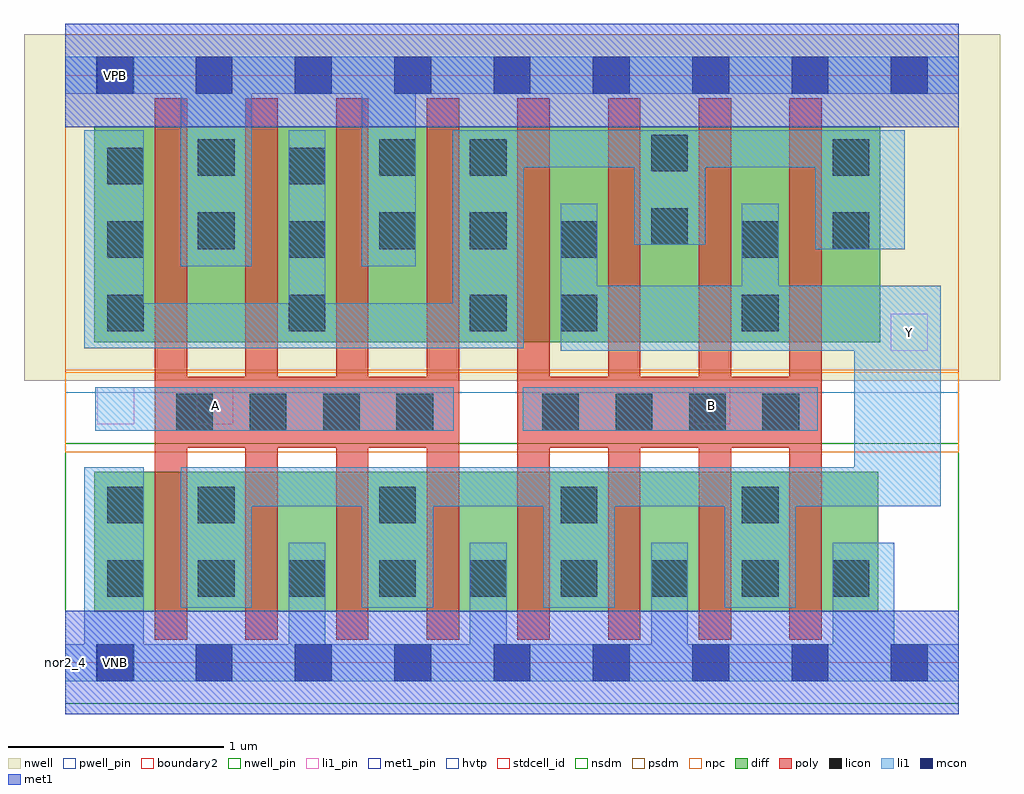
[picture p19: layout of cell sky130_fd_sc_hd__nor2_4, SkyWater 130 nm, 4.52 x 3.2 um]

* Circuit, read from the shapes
.subckt sky130_fd_sc_hd__nor2_4 A B VGND VNB VPB VPWR Y
XM1 Y A VGND VNB sky130_fd_pr__nfet_01v8 w=0.65 l=0.15 m=4
XM2 Y B VGND VNB sky130_fd_pr__nfet_01v8 w=0.65 l=0.15 m=4
XM3 VPWR A n1 VPB sky130_fd_pr__pfet_01v8_hvt w=1 l=0.15 m=4
XM4 Y B n1 VPB sky130_fd_pr__pfet_01v8_hvt w=1 l=0.15 m=4
.ends

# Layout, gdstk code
import gdstk
lib = gdstk.Library(unit=1e-6, precision=1e-09)
def R(c, l, rs):  # rectangles x0, y0, x1, y1
    for r in rs: c.add(gdstk.rectangle(r[:2], r[2:], *l))
def A(c, l, x, y, w, h, nx, ny, dx, dy):  # array of equal rectangles
    R(c, l, [(x+i*dx, y+j*dy, x+i*dx+w, y+j*dy+h) for i in range(nx) for j in range(ny)])
def P(c, l, *ps):  # polygons
    for p in ps: c.add(gdstk.Polygon(p, *l))
nwell_pin = (64, 16)
nwell = (64, 20)
diff = (65, 20)
poly = (66, 20)
licon = (66, 44)
li1_pin = (67, 16)
li1 = (67, 20)
mcon = (67, 44)
met1_pin = (68, 16)
met1 = (68, 20)
hvtp = (78, 44)
stdcell_id = (81, 4)
nsdm = (93, 44)
psdm = (94, 20)
npc = (95, 20)
pwell_pin = (122, 16)
boundary2 = (236, 0)

sky130_fd_sc_hd__nor2_4 = lib.new_cell('sky130_fd_sc_hd__nor2_4')
R(sky130_fd_sc_hd__nor2_4, nwell_pin, [(0.15,2.635,0.32,2.805)])
R(sky130_fd_sc_hd__nor2_4, nwell, [(-0.19,1.305,4.33,2.91)])
R(sky130_fd_sc_hd__nor2_4, diff, [(0.135,0.235,3.765,0.885), (0.135,1.485,3.775,2.485)])
P(sky130_fd_sc_hd__nor2_4, poly, [(3.505,2.615),(3.355,2.615),(3.355,1.325),(3.085,1.325),(3.085,2.615),(2.935,2.615),(2.935,1.325),(2.665,1.325),(2.665,2.615),(2.515,2.615),(2.515,1.325),(2.245,1.325),(2.245,2.615),(2.095,2.615),(2.095,0.105),(2.245,0.105),(2.245,0.995),(2.515,0.995),(2.515,0.105),(2.665,0.105),(2.665,0.995),(2.935,0.995),(2.935,0.105),(3.085,0.105),(3.085,0.995),(3.355,0.995),(3.355,0.105),(3.505,0.105)],
  [(1.825,2.615),(1.675,2.615),(1.675,1.325),(1.405,1.325),(1.405,2.615),(1.255,2.615),(1.255,1.325),(0.985,1.325),(0.985,2.615),(0.835,2.615),(0.835,1.325),(0.565,1.325),(0.565,2.615),(0.415,2.615),(0.415,0.105),(0.565,0.105),(0.565,0.995),(0.835,0.995),(0.835,0.105),(0.985,0.105),(0.985,0.995),(1.255,0.995),(1.255,0.105),(1.405,0.105),(1.405,0.995),(1.675,0.995),(1.675,0.105),(1.825,0.105)])
A(sky130_fd_sc_hd__nor2_4, licon, 0.195, 0.305, 0.17, 0.17, 9, 1, 0.42, 0)
A(sky130_fd_sc_hd__nor2_4, licon, 0.615, 0.645, 0.17, 0.17, 4, 1, 0.84, 0)
A(sky130_fd_sc_hd__nor2_4, licon, 0.515, 1.075, 0.17, 0.17, 4, 1, 0.34, 0)
A(sky130_fd_sc_hd__nor2_4, licon, 2.21, 1.075, 0.17, 0.17, 4, 1, 0.34, 0)
A(sky130_fd_sc_hd__nor2_4, licon, 0.195, 1.535, 0.17, 0.17, 3, 1, 0.84, 0)
R(sky130_fd_sc_hd__nor2_4, licon, [(0.195,0.645,0.365,0.815), (2.295,1.535,2.465,1.705), (3.135,1.535,3.305,1.705), (0.195,1.875,0.365,2.045), (1.035,1.875,1.205,2.045), (2.295,1.875,2.465,2.045), (3.135,1.875,3.305,2.045), (0.615,1.915,0.785,2.085), (1.455,1.915,1.625,2.085), (1.875,1.915,2.045,2.085), (3.555,1.915,3.725,2.085), (2.715,1.935,2.885,2.105), (0.195,2.215,0.365,2.385), (1.035,2.215,1.205,2.385), (0.615,2.255,0.785,2.425), (1.455,2.255,1.625,2.425), (1.875,2.255,2.045,2.425), (3.555,2.255,3.725,2.425), (2.715,2.275,2.885,2.445)])
R(sky130_fd_sc_hd__nor2_4, li1_pin, [(0.15,1.105,0.32,1.275), (0.61,1.105,0.78,1.275), (2.91,1.105,3.08,1.275), (3.825,1.445,3.995,1.615)])
R(sky130_fd_sc_hd__nor2_4, li1, [(0.14,1.075,1.8,1.275), (2.12,1.075,3.485,1.275)])
P(sky130_fd_sc_hd__nor2_4, li1, [(4.14,0.085),(3.84,0.085),(3.84,0.555),(3.555,0.555),(3.555,0.085),(2.885,0.085),(2.885,0.555),(2.715,0.555),(2.715,0.085),(2.045,0.085),(2.045,0.555),(1.875,0.555),(1.875,0.085),(1.205,0.085),(1.205,0.555),(1.035,0.555),(1.035,0.085),(0.365,0.085),(0.365,0.905),(0.09,0.905),(0.09,0.085),(0,0.085),(0,-0.085),(4.14,-0.085)],
  [(4.14,2.805),(0,2.805),(0,2.635),(0.535,2.635),(0.535,1.835),(0.865,1.835),(0.865,2.635),(1.375,2.635),(1.375,1.835),(1.625,1.835),(1.625,2.635),(4.14,2.635)],
  [(3.89,2.465),(1.795,2.465),(1.795,1.665),(1.205,1.665),(1.205,2.465),(1.035,2.465),(1.035,1.665),(0.365,1.665),(0.365,2.465),(0.09,2.465),(0.09,1.455),(2.125,1.455),(2.125,2.295),(2.635,2.295),(2.635,1.935),(2.965,1.935),(2.965,2.295),(3.475,2.295),(3.475,1.915),(3.89,1.915)],
  [(4.055,1.745),(3.305,1.745),(3.305,2.125),(3.135,2.125),(3.135,1.745),(2.465,1.745),(2.465,2.125),(2.295,2.125),(2.295,1.445),(3.655,1.445),(3.655,0.905),(0.535,0.905),(0.535,0.255),(0.865,0.255),(0.865,0.725),(1.375,0.725),(1.375,0.255),(1.705,0.255),(1.705,0.725),(2.215,0.725),(2.215,0.255),(2.545,0.255),(2.545,0.725),(3.055,0.725),(3.055,0.255),(3.385,0.255),(3.385,0.725),(4.055,0.725)])
A(sky130_fd_sc_hd__nor2_4, mcon, 0.145, -0.085, 0.17, 0.17, 9, 2, 0.46, 2.72)
R(sky130_fd_sc_hd__nor2_4, met1_pin, [(0.15,-0.085,0.32,0.085), (0.15,2.635,0.32,2.805)])
R(sky130_fd_sc_hd__nor2_4, hvtp, [(0,1.25,4.14,2.72)])
R(sky130_fd_sc_hd__nor2_4, stdcell_id, [(0,0,4.14,2.72)])
R(sky130_fd_sc_hd__nor2_4, nsdm, [(0,-0.19,4.14,1.015)])
R(sky130_fd_sc_hd__nor2_4, psdm, [(0,1.355,4.14,2.91)])
R(sky130_fd_sc_hd__nor2_4, npc, [(0,0.975,4.14,1.345)])
R(sky130_fd_sc_hd__nor2_4, pwell_pin, [(0.15,-0.085,0.32,0.085)])
R(sky130_fd_sc_hd__nor2_4, boundary2, [(0,0,4.14,2.72)])
sky130_fd_sc_hd__nor2_4.add(gdstk.FlexPath([(0,2.72),(4.14,2.72)], 0.48, ends="flush", simple_path=True, layer=68, datatype=20))  # met1
sky130_fd_sc_hd__nor2_4.add(gdstk.FlexPath([(0,0),(4.14,0)], 0.48, ends="flush", simple_path=True, layer=68, datatype=20))  # met1
sky130_fd_sc_hd__nor2_4.add(gdstk.Label('Y', (3.91,1.53), layer=67, texttype=5))
sky130_fd_sc_hd__nor2_4.add(gdstk.Label('A', (0.695,1.19), layer=67, texttype=5))
sky130_fd_sc_hd__nor2_4.add(gdstk.Label('B', (2.995,1.19), layer=67, texttype=5))
sky130_fd_sc_hd__nor2_4.add(gdstk.Label('VPB', (0.235,2.72), layer=64, texttype=5))
sky130_fd_sc_hd__nor2_4.add(gdstk.Label('VNB', (0.235,0), layer=64, texttype=59))
sky130_fd_sc_hd__nor2_4.add(gdstk.Label('VGND', (0.23,0), layer=68, texttype=5))
sky130_fd_sc_hd__nor2_4.add(gdstk.Label('VPWR', (0.23,2.72), layer=68, texttype=5))
sky130_fd_sc_hd__nor2_4.add(gdstk.Label('nor2_4', (0,0), layer=83, texttype=44))

lib.write_gds('sky130_fd_sc_hd__nor2_4.gds')
